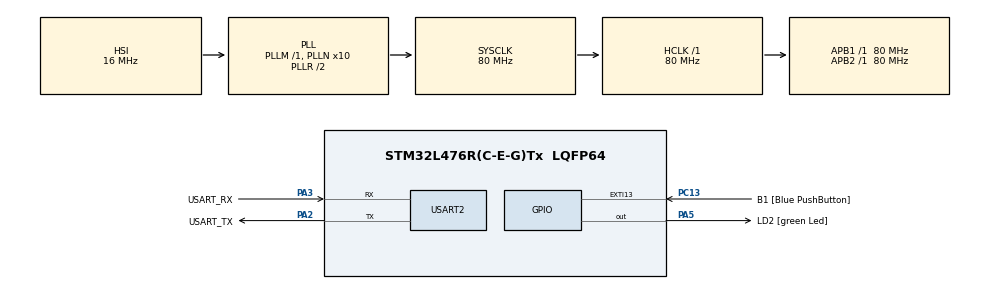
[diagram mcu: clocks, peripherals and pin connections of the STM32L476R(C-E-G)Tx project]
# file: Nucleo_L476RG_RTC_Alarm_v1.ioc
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Mcu.Family=STM32L4
Mcu.Name=STM32L476R(C-E-G)Tx
Mcu.Package=LQFP64
NVIC.PriorityGroup=NVIC_PRIORITYGROUP_4
NVIC.RTC_Alarm_IRQn=true\:0\:0\:false\:false\:true\:true\:true\:true
PA13\ (JTMS-SWDIO).GPIO_Label=TMS
PA13\ (JTMS-SWDIO).Mode=Serial_Wire
PA13\ (JTMS-SWDIO).Signal=SYS_JTMS-SWDIO
PA14\ (JTCK-SWCLK).GPIO_Label=TCK
PA14\ (JTCK-SWCLK).Mode=Serial_Wire
PA14\ (JTCK-SWCLK).Signal=SYS_JTCK-SWCLK
PA2.GPIO_Label=USART_TX
PA2.GPIO_Mode=GPIO_MODE_AF_PP
PA2.GPIO_PuPd=GPIO_NOPULL
PA2.GPIO_Speed=GPIO_SPEED_FREQ_VERY_HIGH
PA2.Mode=Asynchronous
PA2.Signal=USART2_TX
PA3.GPIO_Label=USART_RX
PA3.GPIO_Mode=GPIO_MODE_AF_PP
PA3.GPIO_PuPd=GPIO_NOPULL
PA3.GPIO_Speed=GPIO_SPEED_FREQ_VERY_HIGH
PA3.Mode=Asynchronous
PA3.Signal=USART2_RX
PA5.GPIO_Label=LD2 [green Led]
PA5.GPIO_ModeDefaultOutputPP=GPIO_MODE_OUTPUT_PP
PA5.GPIO_PuPd=GPIO_NOPULL
PA5.GPIO_Speed=GPIO_SPEED_FREQ_LOW
PA5.Signal=GPIO_Output
PB3\ (JTDO-TRACESWO).GPIO_Label=SWO
PB3\ (JTDO-TRACESWO).Signal=SYS_JTDO-SWO
PC13.GPIO_Label=B1 [Blue PushButton]
PC13.GPIO_ModeDefaultEXTI=GPIO_MODE_IT_FALLING
PC13.GPIO_PuPd=GPIO_NOPULL
PC13.Signal=GPXTI13
PC14-OSC32_IN\ (PC14).Mode=LSE-External-Oscillator
PC14-OSC32_IN\ (PC14).Signal=RCC_OSC32_IN
PC15-OSC32_OUT\ (PC15).Mode=LSE-External-Oscillator
PC15-OSC32_OUT\ (PC15).Signal=RCC_OSC32_OUT
PH0-OSC_IN\ (PH0).Signal=RCC_OSC_IN
PH1-OSC_OUT\ (PH1).Signal=RCC_OSC_OUT
ProjectManager.HeapSize=0x200
ProjectManager.StackSize=0x400
ProjectManager.TargetToolchain=STM32CubeIDE
RCC.ADCFreq_Value=64000000
RCC.AHBFreq_Value=80000000
RCC.APB1Freq_Value=80000000
RCC.APB1TimFreq_Value=80000000
RCC.APB2Freq_Value=80000000
RCC.APB2TimFreq_Value=80000000
RCC.CortexFreq_Value=80000000
RCC.HCLKFreq_Value=80000000
RCC.HSE_VALUE=8000000
RCC.HSI_VALUE=16000000
RCC.MSI_VALUE=4000000
RCC.PLLN=10
RCC.PLLSourceVirtual=RCC_PLLSOURCE_HSI
RCC.PREFETCH_ENABLE=1
RCC.SYSCLKFreq_VALUE=80000000
RCC.SYSCLKSource=RCC_SYSCLKSOURCE_PLLCLK
RCC.USBFreq_Value=64000000
RCC.VCOOutputFreq_Value=160000000
RTC.Alarm-Alarm\ A=RTC_ALARM_A
RTC.AlarmMaskMinutes-Alarm\ A=RTC_ALARMMASK_MINUTES
RTC.Seconds=0
RTC.Seconds_A-Alarm\ A=10
USART2.VirtualMode-Asynchronous=VM_ASYNC
VP_RTC_VS_RTC_Activate.Mode=RTC_Enabled
VP_RTC_VS_RTC_Alarm_A_Intern.Mode=Alarm A
VP_RTC_VS_RTC_Calendar.Mode=RTC_Calendar
board=NUCLEO-L476RG

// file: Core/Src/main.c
/* USER CODE BEGIN Header */
/**
  ******************************************************************************
  * @file           : main.c
  * @brief          : Main program body
  ******************************************************************************
  * @attention
  *
  * Copyright (c) 2022 STMicroelectronics.
  * All rights reserved.
  *
  * This software is licensed under terms that can be found in the LICENSE file
  * in the root directory of this software component.
  * If no LICENSE file comes with this software, it is provided AS-IS.
  *
  ******************************************************************************
  */
/* USER CODE END Header */
#include "main.h"

/* USER CODE BEGIN Includes */
#include <stdio.h>
/* USER CODE END Includes */

RTC_HandleTypeDef hrtc;

UART_HandleTypeDef huart2;

void SystemClock_Config(void);
static void MX_GPIO_Init(void);
static void MX_RTC_Init(void);
static void MX_USART2_UART_Init(void);

/* USER CODE BEGIN 0 */
// WARNING UART2 is connected to st-link
// OPTIONAL Properties -> Settings -> MCU_Settings -> select use float with printf
/*
 * USART2, BaudRate = 115200, WordLength = UART_WORDLENGTH_8B, StopBits = UART_STOPBITS_1;
 * */
int _write(int file, char *ptr, int len)
{
	HAL_UART_Transmit(&huart2,(uint8_t *)ptr, len, 10);
	return len;
}
/* USER CODE END 0 */

int main(void)
{

  /* MCU Configuration--------------------------------------------------------*/

  /* Reset of all peripherals, Initializes the Flash interface and the Systick. */
  HAL_Init();

  /* Configure the system clock */
  SystemClock_Config();

  /* USER CODE BEGIN SysInit */
  /* The backup registers can be written/read and protected
  and have the option of being preserved in VBAT mode when
  the VDD domain is powered off */
  //HAL_PWR_EnableBkUpAccess();
  	//enable PWR backup domain access (RTC,BKReg)

  //__HAL_RCC_RTC_ENABLE();
  	//Enable RTC. not created by cube because the RTC can run.

  /* USER CODE END SysInit */

  /* Initialize all configured peripherals */
  MX_GPIO_Init();
  MX_RTC_Init();
  MX_USART2_UART_Init();

  /* Infinite loop */
  while (1)
  {

    /* USER CODE BEGIN 3 */
  printf("Enter sleep mode\n");
  HAL_SuspendTick();
  HAL_PWR_EnterSLEEPMode(PWR_LOWPOWERREGULATOR_ON,PWR_SLEEPENTRY_WFI);
  HAL_ResumeTick();
  printf("Enter run mode\n");
  }
  /* USER CODE END 3 */

  /* USER CODE BEGIN WHILE */

  while (1)  {

  printf("Enter stop mode\n");	// not working USART disabled

  HAL_PWR_EnterSTOPMode(PWR_LOWPOWERREGULATOR_ON,PWR_STOPENTRY_WFI);
  SystemClock_Config();

  printf("Enter run mode\n");	 // not working USART disabled
  }

  /* USER CODE END WHILE */

}

void SystemClock_Config(void)
{
  RCC_OscInitTypeDef RCC_OscInitStruct = {0};
  RCC_ClkInitTypeDef RCC_ClkInitStruct = {0};

  /** Configure the main internal regulator output voltage
  */
  if (HAL_PWREx_ControlVoltageScaling(PWR_REGULATOR_VOLTAGE_SCALE1) != HAL_OK)
  {
    Error_Handler();
  }

  /** Initializes the RCC Oscillators according to the specified parameters
  * in the RCC_OscInitTypeDef structure.
  */
  RCC_OscInitStruct.OscillatorType = RCC_OSCILLATORTYPE_HSI|RCC_OSCILLATORTYPE_LSI;
  RCC_OscInitStruct.HSIState = RCC_HSI_ON;
  RCC_OscInitStruct.HSICalibrationValue = RCC_HSICALIBRATION_DEFAULT;
  RCC_OscInitStruct.LSIState = RCC_LSI_ON;
  RCC_OscInitStruct.PLL.PLLState = RCC_PLL_ON;
  RCC_OscInitStruct.PLL.PLLSource = RCC_PLLSOURCE_HSI;
  RCC_OscInitStruct.PLL.PLLM = 1;
  RCC_OscInitStruct.PLL.PLLN = 10;
  RCC_OscInitStruct.PLL.PLLP = RCC_PLLP_DIV7;
  RCC_OscInitStruct.PLL.PLLQ = RCC_PLLQ_DIV2;
  RCC_OscInitStruct.PLL.PLLR = RCC_PLLR_DIV2;
  if (HAL_RCC_OscConfig(&RCC_OscInitStruct) != HAL_OK)
  {
    Error_Handler();
  }

  /** Initializes the CPU, AHB and APB buses clocks
  */
  RCC_ClkInitStruct.ClockType = RCC_CLOCKTYPE_HCLK|RCC_CLOCKTYPE_SYSCLK
                              |RCC_CLOCKTYPE_PCLK1|RCC_CLOCKTYPE_PCLK2;
  RCC_ClkInitStruct.SYSCLKSource = RCC_SYSCLKSOURCE_PLLCLK;
  RCC_ClkInitStruct.AHBCLKDivider = RCC_SYSCLK_DIV1;
  RCC_ClkInitStruct.APB1CLKDivider = RCC_HCLK_DIV1;
  RCC_ClkInitStruct.APB2CLKDivider = RCC_HCLK_DIV1;

  if (HAL_RCC_ClockConfig(&RCC_ClkInitStruct, FLASH_LATENCY_4) != HAL_OK)
  {
    Error_Handler();
  }
}

static void MX_RTC_Init(void)
{

  RTC_TimeTypeDef sTime = {0};
  RTC_DateTypeDef sDate = {0};
  RTC_AlarmTypeDef sAlarm = {0};

  /** Initialize RTC Only
  */
  hrtc.Instance = RTC;
  hrtc.Init.HourFormat = RTC_HOURFORMAT_24;
  hrtc.Init.AsynchPrediv = 127;
  hrtc.Init.SynchPrediv = 255;
  hrtc.Init.OutPut = RTC_OUTPUT_DISABLE;
  hrtc.Init.OutPutRemap = RTC_OUTPUT_REMAP_NONE;
  hrtc.Init.OutPutPolarity = RTC_OUTPUT_POLARITY_HIGH;
  hrtc.Init.OutPutType = RTC_OUTPUT_TYPE_OPENDRAIN;
  if (HAL_RTC_Init(&hrtc) != HAL_OK)
  {
    Error_Handler();
  }

  /** Initialize RTC and set the Time and Date
  */
  sTime.Hours = 0x0;
  sTime.Minutes = 0x0;
  sTime.Seconds = 0x0;
  sTime.DayLightSaving = RTC_DAYLIGHTSAVING_NONE;
  sTime.StoreOperation = RTC_STOREOPERATION_RESET;
  if (HAL_RTC_SetTime(&hrtc, &sTime, RTC_FORMAT_BCD) != HAL_OK)
  {
    Error_Handler();
  }
  sDate.WeekDay = RTC_WEEKDAY_MONDAY;
  sDate.Month = RTC_MONTH_JANUARY;
  sDate.Date = 0x1;
  sDate.Year = 0x0;

  if (HAL_RTC_SetDate(&hrtc, &sDate, RTC_FORMAT_BCD) != HAL_OK)
  {
    Error_Handler();
  }

  /** Enable the Alarm A
  */
  sAlarm.AlarmTime.Hours = 0x0;
  sAlarm.AlarmTime.Minutes = 0x0;
  sAlarm.AlarmTime.Seconds = 0x10;
  sAlarm.AlarmTime.SubSeconds = 0x0;
  sAlarm.AlarmTime.DayLightSaving = RTC_DAYLIGHTSAVING_NONE;
  sAlarm.AlarmTime.StoreOperation = RTC_STOREOPERATION_RESET;
  sAlarm.AlarmMask = RTC_ALARMMASK_MINUTES;
  sAlarm.AlarmSubSecondMask = RTC_ALARMSUBSECONDMASK_ALL;
  sAlarm.AlarmDateWeekDaySel = RTC_ALARMDATEWEEKDAYSEL_DATE;
  sAlarm.AlarmDateWeekDay = 0x1;
  sAlarm.Alarm = RTC_ALARM_A;
  if (HAL_RTC_SetAlarm_IT(&hrtc, &sAlarm, RTC_FORMAT_BCD) != HAL_OK)
  {
    Error_Handler();
  }

}

static void MX_USART2_UART_Init(void)
{

  huart2.Instance = USART2;
  huart2.Init.BaudRate = 115200;
  huart2.Init.WordLength = UART_WORDLENGTH_8B;
  huart2.Init.StopBits = UART_STOPBITS_1;
  huart2.Init.Parity = UART_PARITY_NONE;
  huart2.Init.Mode = UART_MODE_TX_RX;
  huart2.Init.HwFlowCtl = UART_HWCONTROL_NONE;
  huart2.Init.OverSampling = UART_OVERSAMPLING_16;
  huart2.Init.OneBitSampling = UART_ONE_BIT_SAMPLE_DISABLE;
  huart2.AdvancedInit.AdvFeatureInit = UART_ADVFEATURE_NO_INIT;
  if (HAL_UART_Init(&huart2) != HAL_OK)
  {
    Error_Handler();
  }

}

static void MX_GPIO_Init(void)
{
  GPIO_InitTypeDef GPIO_InitStruct = {0};

  /* GPIO Ports Clock Enable */
  __HAL_RCC_GPIOC_CLK_ENABLE();
  __HAL_RCC_GPIOH_CLK_ENABLE();
  __HAL_RCC_GPIOA_CLK_ENABLE();
  __HAL_RCC_GPIOB_CLK_ENABLE();

  /*Configure GPIO pin Output Level */
  HAL_GPIO_WritePin(LD2_GPIO_Port, LD2_Pin, GPIO_PIN_RESET);

  /*Configure GPIO pin : B1_Pin */
  GPIO_InitStruct.Pin = B1_Pin;
  GPIO_InitStruct.Mode = GPIO_MODE_IT_FALLING;
  GPIO_InitStruct.Pull = GPIO_NOPULL;
  HAL_GPIO_Init(B1_GPIO_Port, &GPIO_InitStruct);

  /*Configure GPIO pin : LD2_Pin */
  GPIO_InitStruct.Pin = LD2_Pin;
  GPIO_InitStruct.Mode = GPIO_MODE_OUTPUT_PP;
  GPIO_InitStruct.Pull = GPIO_NOPULL;
  GPIO_InitStruct.Speed = GPIO_SPEED_FREQ_LOW;
  HAL_GPIO_Init(LD2_GPIO_Port, &GPIO_InitStruct);

}

/* USER CODE BEGIN 4 */

void HAL_RTC_AlarmAEventCallback(RTC_HandleTypeDef *hrtc){
  RTC_AlarmTypeDef sAlarm;
  HAL_RTC_GetAlarm(hrtc,&sAlarm,RTC_ALARM_A,FORMAT_BIN);
  printf("%d\n", sAlarm.AlarmTime.Seconds);
	uint8_t every=10;
  if(sAlarm.AlarmTime.Seconds>=60-every){
    sAlarm.AlarmTime.Seconds=0;
		printf("Seconds overflow\n");
  }else{
    sAlarm.AlarmTime.Seconds=sAlarm.AlarmTime.Seconds+every;
  }
  while(HAL_RTC_SetAlarm_IT(hrtc, &sAlarm, FORMAT_BIN)!=HAL_OK){}
  HAL_GPIO_TogglePin(LD2_GPIO_Port, LD2_Pin);
}

uint32_t readBackupReg(uint32_t backup_register) {
    RTC_HandleTypeDef RtcHandle;
    RtcHandle.Instance = RTC;
    return HAL_RTCEx_BKUPRead(&RtcHandle, backup_register);
}

void writeBackupReg(uint32_t backup_register, uint32_t data) {
    RTC_HandleTypeDef RtcHandle;
    RtcHandle.Instance = RTC;
    HAL_PWR_EnableBkUpAccess();
    HAL_RTCEx_BKUPWrite(&RtcHandle, backup_register, data);
    HAL_PWR_DisableBkUpAccess();
}

/*

This might also work for other STM32 chips. I use the HAL, so it also might be supported by your chip.

To use the Backup SRAM (most of the time 4 Kb), you need to add a backup power source (like a battery or a supercap)
to the VBAT pin of your STM32. I use a simple CR2032 battery.

Use following code to get access to the Backup SRAM:

  __HAL_RCC_PWR_CLK_ENABLE();
  HAL_PWR_EnableBkUpAccess();
  __HAL_RCC_BKPSRAM_CLK_ENABLE();

After this, you can already read / write to the Backup SRAM, but to save the content in case of a power loss of the
main power, you need to active the backup power regulator:

  // Enable backup regulator
  LL_PWR_EnableBkUpRegulator();
  // Wait until backup regulator is initialized
  while (!LL_PWR_IsActiveFlag_BRR());

Now you can safely save your content in the Backup SRAM.

You can write to it like this:

  *(__IO uint8_t *) (BKPSRAM_BASE + offset) = x;

You can read from it like this:

  uint8_t x = (*(__IO uint8_t *) (BKPSRAM_BASE + offset));

 */
/* USER CODE END 4 */

void Error_Handler(void)
{
  __disable_irq();
  while (1)
  {
  }
}
